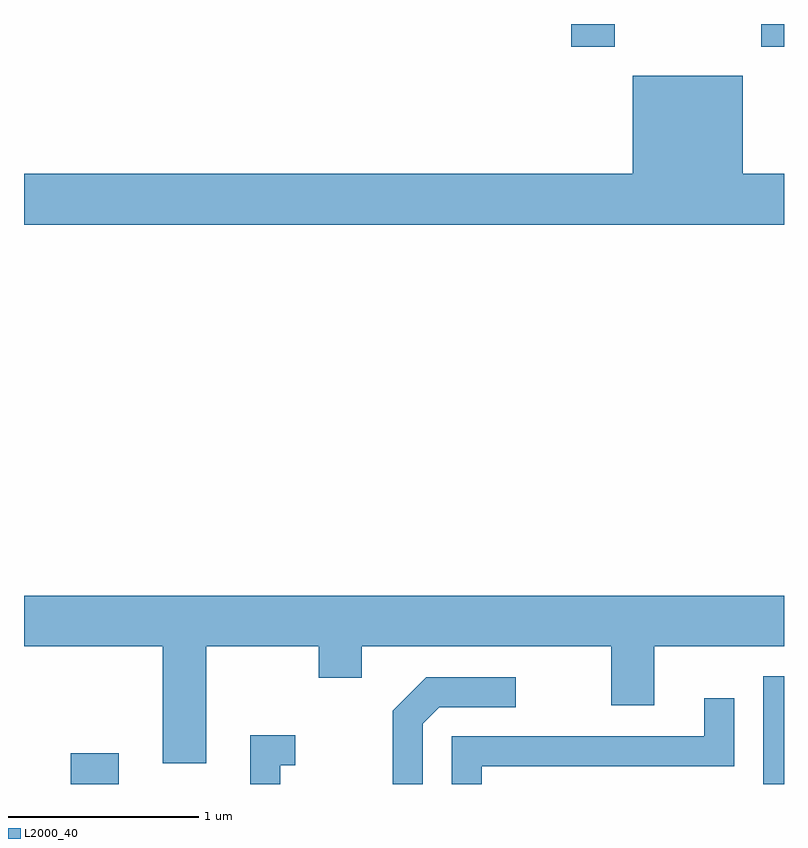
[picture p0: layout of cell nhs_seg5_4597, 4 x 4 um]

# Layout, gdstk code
import gdstk
lib = gdstk.Library(unit=1e-6, precision=1e-09)
def R(c, l, rs):  # rectangles x0, y0, x1, y1
    for r in rs: c.add(gdstk.rectangle(r[:2], r[2:], *l))
def P(c, l, *ps):  # polygons
    for p in ps: c.add(gdstk.Polygon(p, *l))
L2000_40 = (2000, 40)

nhs_seg5_4597 = lib.new_cell('nhs_seg5_4597')
R(nhs_seg5_4597, L2000_40, [(321.856,1456.072,322.109,1456.234), (325.501,1456.072,325.611,1456.639), (324.491,1459.951,324.719,1460.072), (325.491,1459.951,325.611,1460.072)])
P(nhs_seg5_4597, L2000_40, [(325.611,1459.284),(325.394,1459.284),(325.394,1459.799),(324.816,1459.799),(324.816,1459.284),(321.611,1459.284),(321.611,1459.016),(325.611,1459.016)],
  [(322.569,1456.796),(323.161,1456.796),(323.161,1456.631),(323.389,1456.631),(323.389,1456.796),(324.701,1456.796),(324.701,1456.486),(324.929,1456.486),(324.929,1456.796),(325.611,1456.796),(325.611,1457.064),(321.611,1457.064),(321.611,1456.796),(322.341,1456.796),(322.341,1456.181),(322.569,1456.181)],
  [(323.709,1456.389),(323.797,1456.476),(324.198,1456.476),(324.198,1456.634),(323.729,1456.634),(323.551,1456.457),(323.551,1456.072),(323.709,1456.072)],
  [(324.019,1456.166),(325.349,1456.166),(325.349,1456.523),(325.191,1456.523),(325.191,1456.324),(323.861,1456.324),(323.861,1456.072),(324.019,1456.072)],
  [(322.959,1456.171),(323.038,1456.171),(323.038,1456.329),(322.801,1456.329),(322.801,1456.072),(322.959,1456.072)])

lib.write_gds('nhs_seg5_4597.gds')
